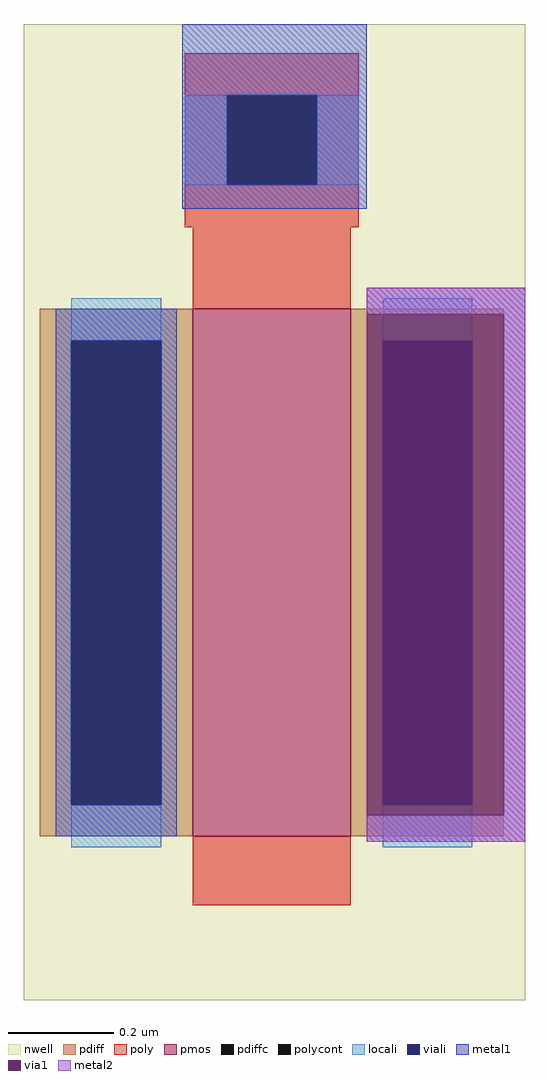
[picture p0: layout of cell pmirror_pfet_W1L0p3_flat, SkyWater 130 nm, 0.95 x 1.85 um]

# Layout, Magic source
magic
tech sky130B
magscale 1 2
<< nwell >>
rect 30 0 220 370
<< pmos >>
rect 94 62 154 262
<< pdiff >>
rect 36 250 94 262
rect 36 74 48 250
rect 82 74 94 250
rect 36 62 94 74
rect 154 250 212 262
rect 154 74 166 250
rect 200 74 212 250
rect 154 62 212 74
<< pdiffc >>
rect 48 74 82 250
rect 166 74 200 250
<< poly >>
rect 91 343 157 359
rect 91 309 107 343
rect 141 309 157 343
rect 91 293 157 309
rect 94 262 154 293
rect 94 36 154 62
<< polycont >>
rect 107 309 141 343
<< locali >>
rect 91 309 107 343
rect 141 309 157 343
rect 48 250 82 266
rect 48 58 82 74
rect 166 250 200 266
rect 166 58 200 74
<< viali >>
rect 107 309 141 343
rect 48 74 82 250
rect 166 74 200 250
<< metal1 >>
rect 90 343 160 370
rect 90 309 107 343
rect 141 309 160 343
rect 90 300 160 309
rect 42 250 88 262
rect 42 74 48 250
rect 82 74 88 250
rect 42 62 88 74
rect 160 260 220 270
rect 212 70 220 260
rect 160 60 220 70
<< via1 >>
rect 160 250 212 260
rect 160 74 166 250
rect 166 74 200 250
rect 200 74 212 250
rect 160 70 212 74
<< metal2 >>
rect 160 260 220 270
rect 212 70 220 260
rect 160 60 220 70
<< end >>
